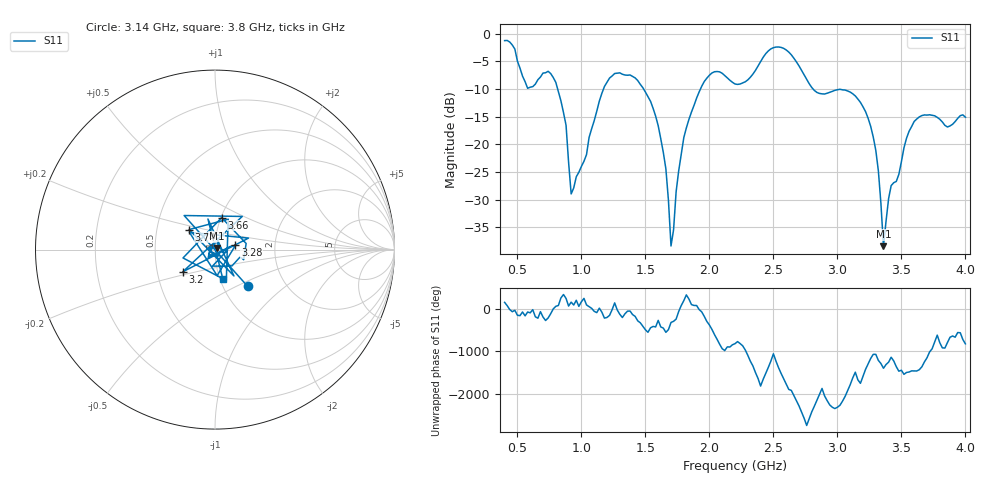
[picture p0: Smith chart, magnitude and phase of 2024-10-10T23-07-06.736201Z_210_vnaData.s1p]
! Created with skrf (http://scikit-rf.org).
# Hz S RI R 50.0
!freq ReS11 ImS11
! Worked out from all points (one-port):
!   181 points, 400 MHz to 4 GHz, reference 50 ohm
!   lowest |S11| = -38.4 dB at 3.36 GHz (marker M1), VSWR 1.02, Z = 50.9 + j0.857 ohm
!   |S11| at or under -10 dB: 814.1 MHz to 1.173 GHz (358.8 MHz wide, 36.1 % of centre); 1.486 GHz to 1.931 GHz (444.8 MHz wide, 26 % of centre); 2.81 GHz to end of sweep
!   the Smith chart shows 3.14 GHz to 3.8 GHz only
!   S11 on the Smith chart (normalised r, x): 3.14 GHz: 1.30, -0.57; 3.2 GHz: 0.68, -0.18; 3.28 GHz: 1.26, +0.06; 3.66 GHz: 1.01, +0.37; 3.74 GHz: 0.73, +0.17; 3.8 GHz: 1.03, -0.35
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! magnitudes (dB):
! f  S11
! 400 MHz  -1.3
! 580 MHz  -9.9
! 760 MHz  -7.2
! 860 MHz  -14.3
! 920 MHz  -29.0
! 1.18 GHz  -9.6
! 1.3 GHz  -7.1
! 1.58 GHz  -14.9
! 1.66 GHz  -24.4
! 1.7 GHz  -38.4
! 1.76 GHz  -24.8
! 1.96 GHz  -8.7
! 2.2 GHz  -9.1
! 2.5 GHz  -2.6
! 2.66 GHz  -4.5
! 2.84 GHz  -10.6
! 3.1 GHz  -10.6
! 3.14 GHz  -11.3
! 3.2 GHz  -13.2
! 3.28 GHz  -18.7
! 3.32 GHz  -24.8
! 3.36 GHz  -38.4
! 3.42 GHz  -27.5
! 3.56 GHz  -17.6
! 3.66 GHz  -14.8
! 3.74 GHz  -14.8
! 3.8 GHz  -15.5
! 4 GHz  -15.1
